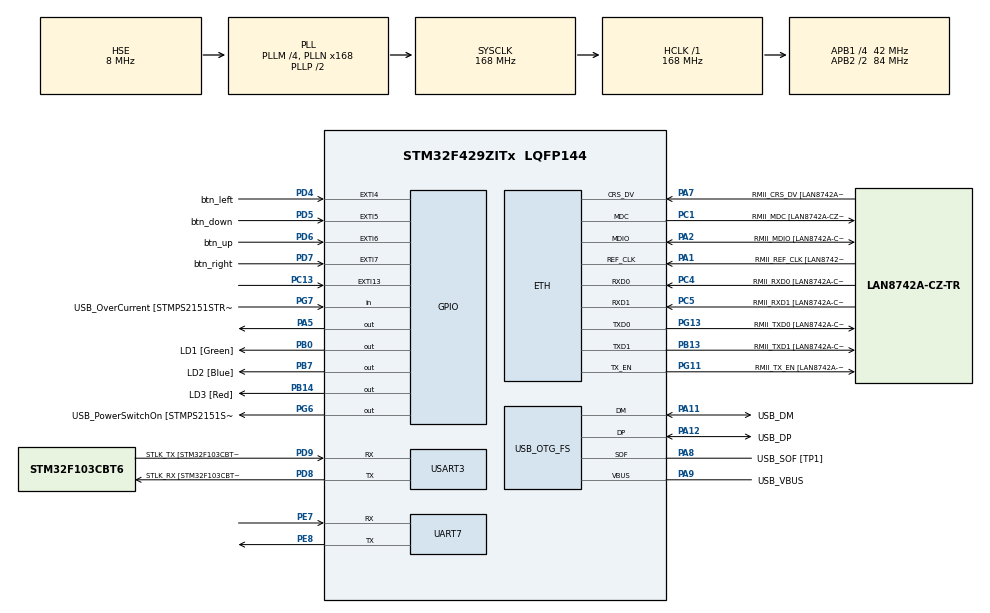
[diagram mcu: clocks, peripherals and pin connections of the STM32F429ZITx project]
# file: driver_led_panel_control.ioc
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Mcu.Family=STM32F4
FREERTOS.Queues01=inputs_queue_,16,10,1,Dynamic,NULL,NULL;outputs_queue_,16,5,1,Dynamic,NULL,NULL
RCC.CortexFreq_Value=168000000
PG6.Signal=GPIO_Output
PB14.GPIO_Label=LD3 [Red]
PG6.GPIO_Label=USB_PowerSwitchOn [STMPS2151STR_EN]
PA14.GPIO_Label=TCK
RCC.SYSCLKSourceVirtual=RCC_SYSCLKSOURCE_PLLCLK
PA11.Mode=Device_Only
PB0.GPIO_Label=LD1 [Green]
PC14/OSC32_IN.Mode=LSE-External-Oscillator
PC5.Mode=RMII
PB13.GPIO_Label=RMII_TXD1 [LAN8742A-CZ-TR_TXD1]
PB13.Signal=ETH_TXD1
PG13.Signal=ETH_TXD0
PD6.GPIO_Label=btn_up
PD9.Mode=Asynchronous
PG11.Signal=ETH_TX_EN
RCC.SYSCLKSource=RCC_SYSCLKSOURCE_PLLCLK
ProjectManager.StackSize=0x400
VP_FREERTOS_VS_CMSIS_V2.Mode=CMSIS_V2
PA12.Signal=USB_OTG_FS_DP
ETH.PHY_Value=0
PH0/OSC_IN.Mode=HSE-External-Clock-Source
RCC.HCLKFreq_Value=168000000
PD4.Signal=GPXTI4
RCC.APB2TimFreq_Value=168000000
PH1/OSC_OUT.Signal=RCC_OSC_OUT
PD8.Signal=USART3_TX
RCC.AHBFreq_Value=168000000
NVIC.EXTI15_10_IRQn=true\:5\:0\:false\:false\:true\:true\:true\:true
RCC.HSE_VALUE=8000000
RCC.PLLMUL=RCC_PLL_MUL9
PC4.GPIO_Label=RMII_RXD0 [LAN8742A-CZ-TR_RXD0]
PA14.Mode=Serial_Wire
VP_SYS_VS_tim1.Mode=TIM1
PA10.GPIO_Label=USB_ID
PB7.Signal=GPIO_Output
PA8.Signal=USB_OTG_FS_SOF
PG13.Mode=RMII
ETH.PHY_Name=LAN8742A_PHY_ADDRESS
PH1/OSC_OUT.Mode=HSE-External-Clock-Source
PD7.GPIO_Label=btn_right
PB7.GPIO_Label=LD2 [Blue]
Mcu.Package=LQFP144
NVIC.TimeBase=TIM1_UP_TIM10_IRQn
PC14/OSC32_IN.Signal=RCC_OSC32_IN
PD5.GPIO_Label=btn_down
PA2.GPIO_Label=RMII_MDIO [LAN8742A-CZ-TR_MDIO]
NVIC.TimeBaseIP=TIM1
PA10.Signal=USB_OTG_FS_ID
USB_OTG_FS.VirtualMode=Device_Only
RCC.APB2CLKDivider=RCC_HCLK_DIV2
RCC.APB1TimFreq_Value=84000000
PG11.GPIO_Label=RMII_TX_EN [LAN8742A-CZ-TR_TXEN]
PC5.Signal=ETH_RXD1
PB13.Mode=RMII
PE7.Signal=UART7_RX
PD6.Signal=GPXTI6
PC4.Mode=RMII
NVIC.EXTI4_IRQn=true\:5\:0\:false\:false\:true\:true\:true\:true
FREERTOS.Tasks01=trame_coding_,24,128,thread_trame_coding,Default,NULL,Dynamic,NULL,NULL;lighting_leds_,24,128,thread_illuminating_led_panel,Default,NULL,Dynamic,NULL,NULL;idle_animation_,24,128,thread_animations_when_idle,Default,NULL,Dynamic,NULL,NULL;IO_queue_,24,128,thread_IO_queue,Default,NULL,Dynamic,NULL,NULL;interruptions_,24,128,thread_dealing_with_interruptions_,Default,NULL,Dynamic,NULL,NULL
PA7.Mode=RMII
PG7.Signal=GPIO_Input
PD9.GPIO_Label=STLK_TX [STM32F103CBT6_PA2]
PC13.Signal=GPXTI13
PA9.GPIO_Label=USB_VBUS
PC4.Signal=ETH_RXD0
PD7.Signal=GPXTI7
PA11.GPIO_Label=USB_DM
PD9.Signal=USART3_RX
PD5.Signal=GPXTI5
UART7.VirtualMode=Asynchronous
RCC.APB1CLKDivider=RCC_HCLK_DIV4
PG13.GPIO_Label=RMII_TXD0 [LAN8742A-CZ-TR_TXD0]
ETH.PhyAddress=0
PA12.GPIO_Label=USB_DP
PD8.GPIO_Label=STLK_RX [STM32F103CBT6_PA3]
PE8.Mode=Asynchronous
PA13.Signal=SYS_JTMS-SWDIO
PA9.Mode=Activate_VBUS
PA8.GPIO_Label=USB_SOF [TP1]
ProjectManager.TargetToolchain=TrueSTUDIO
PA9.Signal=USB_OTG_FS_VBUS
RCC.USBFreq_Value=48000000
PD8.Mode=Asynchronous
PA1.Signal=ETH_REF_CLK
PB14.Signal=GPIO_Output
PA5.Signal=GPIO_Output
board=NUCLEO-F429ZI
RCC.VCOOutputFreq_Value=336000000
PH0/OSC_IN.Signal=RCC_OSC_IN
RCC.APB2Freq_Value=84000000
PA1.Mode=RMII
RCC.PRESCALERUSB=RCC_USBCLKSOURCE_PLL_DIV1_5
PE8.Signal=UART7_TX
PD4.GPIO_Label=btn_left
PG7.GPIO_Label=USB_OverCurrent [STMPS2151STR_FAULT]
PA1.GPIO_Label=RMII_REF_CLK [LAN8742A-CZ-TR_REFCLK0]
PC1.GPIO_Label=RMII_MDC [LAN8742A-CZ-TR_MDC]
PA13.Mode=Serial_Wire
Mcu.Name=STM32F429ZITx
PA2.Signal=ETH_MDIO
PA13.GPIO_Label=TMS
RCC.APB2TimCLKDivider=2
RCC.48MHZClocksFreq_Value=48000000
RCC.SYSCLKFreq_VALUE=168000000
PE7.Mode=Asynchronous
ETH.MediaInterface=ETH_MEDIA_INTERFACE_RMII
PA7.GPIO_Label=RMII_CRS_DV [LAN8742A-CZ-TR_CRS_DV]
PA12.Mode=Device_Only
PC5.GPIO_Label=RMII_RXD1 [LAN8742A-CZ-TR_RXD1]
USART3.VirtualMode=VM_ASYNC
PC15/OSC32_OUT.Mode=LSE-External-Oscillator
PG11.Mode=RMII
PA11.Signal=USB_OTG_FS_DM
NVIC.EXTI9_5_IRQn=true\:5\:0\:false\:false\:true\:true\:true\:true
PA14.Signal=SYS_JTCK-SWCLK
ProjectManager.HeapSize=0x200
NVIC.TIM1_UP_TIM10_IRQn=true\:0\:0\:false\:false\:true\:false\:false\:true
RCC.HSI_VALUE=16000000
PH0/OSC_IN.GPIO_Label=MCO [STM32F103CBT6_PA8]
RCC.PLLQ=7
NVIC.PriorityGroup=NVIC_PRIORITYGROUP_4
RCC.PLLM=4
RCC.PLLN=168
PA2.Mode=RMII
PC15/OSC32_OUT.Signal=RCC_OSC32_OUT
PA8.Mode=Activate_SOF_FS
RCC.APB1Freq_Value=42000000
PB0.Signal=GPIO_Output
PC1.Signal=ETH_MDC
PC1.Mode=RMII
PA7.Signal=ETH_CRS_DV

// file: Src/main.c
/* USER CODE BEGIN Header */
/**
 ******************************************************************************
 * @file           : main.c
 * @brief          : Main program body
 ******************************************************************************
 * @attention
 *
 * <h2><center>&copy; Copyright (c) 2020 STMicroelectronics.
 * All rights reserved.</center></h2>
 *
 * This software component is licensed by ST under Ultimate Liberty license
 * SLA0044, the "License"; You may not use this file except in compliance with
 * the License. You may obtain a copy of the License at:
 *                             www.st.com/SLA0044
 *
 ******************************************************************************
 */
/* USER CODE END Header */

#include "main.h"
#include "cmsis_os.h"
#include "task.h"

/* USER CODE BEGIN PTD */
typedef struct {
	uint8_t GValue;
	uint8_t RValue;
	uint8_t BValue;
} led;

typedef struct {
	int8_t l;
	int8_t c;
} point_t;
/* USER CODE END PTD */

/* USER CODE BEGIN PD */
#define ROWS 8
#define COLS 8
/* USER CODE END PD */

ETH_HandleTypeDef heth;

UART_HandleTypeDef huart7;
UART_HandleTypeDef huart3;

PCD_HandleTypeDef hpcd_USB_OTG_FS;

/* Definitions for trame_coding_ */
osThreadId_t trame_coding_Handle;
const osThreadAttr_t trame_coding__attributes = {
  .name = "trame_coding_",
  .priority = (osPriority_t) osPriorityNormal,
  .stack_size = 128 * 4
};
/* Definitions for lighting_leds_ */
osThreadId_t lighting_leds_Handle;
const osThreadAttr_t lighting_leds__attributes = {
  .name = "lighting_leds_",
  .priority = (osPriority_t) osPriorityNormal,
  .stack_size = 128 * 4
};
/* Definitions for idle_animation_ */
osThreadId_t idle_animation_Handle;
const osThreadAttr_t idle_animation__attributes = {
  .name = "idle_animation_",
  .priority = (osPriority_t) osPriorityNormal,
  .stack_size = 128 * 4
};
/* Definitions for IO_queue_ */
osThreadId_t IO_queue_Handle;
const osThreadAttr_t IO_queue__attributes = {
  .name = "IO_queue_",
  .priority = (osPriority_t) osPriorityNormal,
  .stack_size = 128 * 4
};
/* Definitions for interruptions_ */
osThreadId_t interruptions_Handle;
const osThreadAttr_t interruptions__attributes = {
  .name = "interruptions_",
  .priority = (osPriority_t) osPriorityNormal,
  .stack_size = 128 * 4
};
/* Definitions for inputs_queue_ */
osMessageQueueId_t inputs_queue_Handle;
const osMessageQueueAttr_t inputs_queue__attributes = {
  .name = "inputs_queue_"
};
/* Definitions for outputs_queue_ */
osMessageQueueId_t outputs_queue_Handle;
const osMessageQueueAttr_t outputs_queue__attributes = {
  .name = "outputs_queue_"
};
/* USER CODE BEGIN PV */
uint8_t btn_flag;
uint8_t send_trame;
int trame[64];
uint8_t it_flag_UP;
uint8_t it_flag_DOWN;
uint8_t it_flag_LEFT;
uint8_t it_flag_RIGHT;
char message[5] = "pxud\n";
led matrix_values[ROWS][COLS];
led led_color = {.RValue = 0, .GValue = 0, .BValue = 0};
led led_previous_color;
point_t led_coords;
int trame_ready;

/* USER CODE END PV */

void SystemClock_Config(void);
static void MX_GPIO_Init(void);
static void MX_ETH_Init(void);
static void MX_USART3_UART_Init(void);
static void MX_USB_OTG_FS_PCD_Init(void);
static void MX_UART7_Init(void);
void thread_trame_coding(void *argument);
void thread_illuminating_led_panel(void *argument);
void thread_animations_when_idle(void *argument);
void thread_IO_queue(void *argument);
void thread_dealing_with_interruptions_(void *argument);

int main(void)
{

  /* MCU Configuration--------------------------------------------------------*/

  /* Reset of all peripherals, Initializes the Flash interface and the Systick. */
  HAL_Init();

  /* USER CODE BEGIN Init */
  btn_flag = 0;
  send_trame = 0;
  it_flag_UP = 0;
  it_flag_DOWN = 0;
  it_flag_LEFT = 0;
  it_flag_RIGHT = 0;
  trame_ready = 0;
  int row, col;
  for(row = 0; row < ROWS; row++) {
	for(col = 0; col < COLS; col++) {
		matrix_values[row][col].BValue = 0;
		matrix_values[row][col].RValue = 0;
		matrix_values[row][col].GValue = 0;
	}
  }
  /* USER CODE END Init */

  /* Configure the system clock */
  SystemClock_Config();

  /* Initialize all configured peripherals */
  MX_GPIO_Init();
  MX_ETH_Init();
  MX_USART3_UART_Init();
  MX_USB_OTG_FS_PCD_Init();
  MX_UART7_Init();

  /* Init scheduler */
  osKernelInitialize();

  /* Create the queue(s) */
  /* creation of inputs_queue_ */
  inputs_queue_Handle = osMessageQueueNew (16, 10, &inputs_queue__attributes);

  /* creation of outputs_queue_ */
  outputs_queue_Handle = osMessageQueueNew (16, 5, &outputs_queue__attributes);

  /* Create the thread(s) */
  /* creation of trame_coding_ */
  trame_coding_Handle = osThreadNew(thread_trame_coding, NULL, &trame_coding__attributes);

  /* creation of lighting_leds_ */
  lighting_leds_Handle = osThreadNew(thread_illuminating_led_panel, NULL, &lighting_leds__attributes);

  /* creation of idle_animation_ */
  idle_animation_Handle = osThreadNew(thread_animations_when_idle, NULL, &idle_animation__attributes);

  /* creation of IO_queue_ */
  IO_queue_Handle = osThreadNew(thread_IO_queue, NULL, &IO_queue__attributes);

  /* creation of interruptions_ */
  interruptions_Handle = osThreadNew(thread_dealing_with_interruptions_, NULL, &interruptions__attributes);

  /* Start scheduler */
  osKernelStart();

  /* We should never get here as control is now taken by the scheduler */
  /* Infinite loop */
	while (1)
	{

	}
}

void SystemClock_Config(void)
{
  RCC_OscInitTypeDef RCC_OscInitStruct = {0};
  RCC_ClkInitTypeDef RCC_ClkInitStruct = {0};

  /** Configure the main internal regulator output voltage
  */
  __HAL_RCC_PWR_CLK_ENABLE();
  __HAL_PWR_VOLTAGESCALING_CONFIG(PWR_REGULATOR_VOLTAGE_SCALE1);
  /** Initializes the CPU, AHB and APB busses clocks
  */
  RCC_OscInitStruct.OscillatorType = RCC_OSCILLATORTYPE_HSE;
  RCC_OscInitStruct.HSEState = RCC_HSE_BYPASS;
  RCC_OscInitStruct.PLL.PLLState = RCC_PLL_ON;
  RCC_OscInitStruct.PLL.PLLSource = RCC_PLLSOURCE_HSE;
  RCC_OscInitStruct.PLL.PLLM = 4;
  RCC_OscInitStruct.PLL.PLLN = 168;
  RCC_OscInitStruct.PLL.PLLP = RCC_PLLP_DIV2;
  RCC_OscInitStruct.PLL.PLLQ = 7;
  if (HAL_RCC_OscConfig(&RCC_OscInitStruct) != HAL_OK)
  {
    Error_Handler();
  }
  /** Initializes the CPU, AHB and APB busses clocks
  */
  RCC_ClkInitStruct.ClockType = RCC_CLOCKTYPE_HCLK|RCC_CLOCKTYPE_SYSCLK
                              |RCC_CLOCKTYPE_PCLK1|RCC_CLOCKTYPE_PCLK2;
  RCC_ClkInitStruct.SYSCLKSource = RCC_SYSCLKSOURCE_PLLCLK;
  RCC_ClkInitStruct.AHBCLKDivider = RCC_SYSCLK_DIV1;
  RCC_ClkInitStruct.APB1CLKDivider = RCC_HCLK_DIV4;
  RCC_ClkInitStruct.APB2CLKDivider = RCC_HCLK_DIV2;

  if (HAL_RCC_ClockConfig(&RCC_ClkInitStruct, FLASH_LATENCY_5) != HAL_OK)
  {
    Error_Handler();
  }
}

static void MX_ETH_Init(void)
{

  heth.Instance = ETH;
  heth.Init.AutoNegotiation = ETH_AUTONEGOTIATION_ENABLE;
  heth.Init.PhyAddress = LAN8742A_PHY_ADDRESS;
  heth.Init.MACAddr[0] =   0x00;
  heth.Init.MACAddr[1] =   0x80;
  heth.Init.MACAddr[2] =   0xE1;
  heth.Init.MACAddr[3] =   0x00;
  heth.Init.MACAddr[4] =   0x00;
  heth.Init.MACAddr[5] =   0x00;
  heth.Init.RxMode = ETH_RXPOLLING_MODE;
  heth.Init.ChecksumMode = ETH_CHECKSUM_BY_HARDWARE;
  heth.Init.MediaInterface = ETH_MEDIA_INTERFACE_RMII;

  if (HAL_ETH_Init(&heth) != HAL_OK)
  {
    Error_Handler();
  }

}

static void MX_UART7_Init(void)
{

  huart7.Instance = UART7;
  huart7.Init.BaudRate = 115200;
  huart7.Init.WordLength = UART_WORDLENGTH_8B;
  huart7.Init.StopBits = UART_STOPBITS_1;
  huart7.Init.Parity = UART_PARITY_NONE;
  huart7.Init.Mode = UART_MODE_TX_RX;
  huart7.Init.HwFlowCtl = UART_HWCONTROL_NONE;
  huart7.Init.OverSampling = UART_OVERSAMPLING_16;
  if (HAL_UART_Init(&huart7) != HAL_OK)
  {
    Error_Handler();
  }

}

static void MX_USART3_UART_Init(void)
{

  huart3.Instance = USART3;
  huart3.Init.BaudRate = 115200;
  huart3.Init.WordLength = UART_WORDLENGTH_8B;
  huart3.Init.StopBits = UART_STOPBITS_1;
  huart3.Init.Parity = UART_PARITY_NONE;
  huart3.Init.Mode = UART_MODE_TX_RX;
  huart3.Init.HwFlowCtl = UART_HWCONTROL_NONE;
  huart3.Init.OverSampling = UART_OVERSAMPLING_16;
  if (HAL_UART_Init(&huart3) != HAL_OK)
  {
    Error_Handler();
  }

}

static void MX_USB_OTG_FS_PCD_Init(void)
{

  hpcd_USB_OTG_FS.Instance = USB_OTG_FS;
  hpcd_USB_OTG_FS.Init.dev_endpoints = 4;
  hpcd_USB_OTG_FS.Init.speed = PCD_SPEED_FULL;
  hpcd_USB_OTG_FS.Init.dma_enable = DISABLE;
  hpcd_USB_OTG_FS.Init.phy_itface = PCD_PHY_EMBEDDED;
  hpcd_USB_OTG_FS.Init.Sof_enable = ENABLE;
  hpcd_USB_OTG_FS.Init.low_power_enable = DISABLE;
  hpcd_USB_OTG_FS.Init.lpm_enable = DISABLE;
  hpcd_USB_OTG_FS.Init.vbus_sensing_enable = ENABLE;
  hpcd_USB_OTG_FS.Init.use_dedicated_ep1 = DISABLE;
  if (HAL_PCD_Init(&hpcd_USB_OTG_FS) != HAL_OK)
  {
    Error_Handler();
  }

}

static void MX_GPIO_Init(void)
{
  GPIO_InitTypeDef GPIO_InitStruct = {0};

  /* GPIO Ports Clock Enable */
  __HAL_RCC_GPIOC_CLK_ENABLE();
  __HAL_RCC_GPIOH_CLK_ENABLE();
  __HAL_RCC_GPIOA_CLK_ENABLE();
  __HAL_RCC_GPIOB_CLK_ENABLE();
  __HAL_RCC_GPIOE_CLK_ENABLE();
  __HAL_RCC_GPIOD_CLK_ENABLE();
  __HAL_RCC_GPIOG_CLK_ENABLE();

  /*Configure GPIO pin Output Level */
  HAL_GPIO_WritePin(GPIOA, GPIO_PIN_5, GPIO_PIN_RESET);

  /*Configure GPIO pin Output Level */
  HAL_GPIO_WritePin(GPIOB, LD1_Pin|LD3_Pin|LD2_Pin, GPIO_PIN_RESET);

  /*Configure GPIO pin Output Level */
  HAL_GPIO_WritePin(USB_PowerSwitchOn_GPIO_Port, USB_PowerSwitchOn_Pin, GPIO_PIN_RESET);

  /*Configure GPIO pin : PC13 */
  GPIO_InitStruct.Pin = GPIO_PIN_13;
  GPIO_InitStruct.Mode = GPIO_MODE_IT_RISING;
  GPIO_InitStruct.Pull = GPIO_NOPULL;
  HAL_GPIO_Init(GPIOC, &GPIO_InitStruct);

  /*Configure GPIO pin : PA5 */
  GPIO_InitStruct.Pin = GPIO_PIN_5;
  GPIO_InitStruct.Mode = GPIO_MODE_OUTPUT_PP;
  GPIO_InitStruct.Pull = GPIO_NOPULL;
  GPIO_InitStruct.Speed = GPIO_SPEED_FREQ_LOW;
  HAL_GPIO_Init(GPIOA, &GPIO_InitStruct);

  /*Configure GPIO pins : LD1_Pin LD3_Pin LD2_Pin */
  GPIO_InitStruct.Pin = LD1_Pin|LD3_Pin|LD2_Pin;
  GPIO_InitStruct.Mode = GPIO_MODE_OUTPUT_PP;
  GPIO_InitStruct.Pull = GPIO_NOPULL;
  GPIO_InitStruct.Speed = GPIO_SPEED_FREQ_LOW;
  HAL_GPIO_Init(GPIOB, &GPIO_InitStruct);

  /*Configure GPIO pin : USB_PowerSwitchOn_Pin */
  GPIO_InitStruct.Pin = USB_PowerSwitchOn_Pin;
  GPIO_InitStruct.Mode = GPIO_MODE_OUTPUT_PP;
  GPIO_InitStruct.Pull = GPIO_NOPULL;
  GPIO_InitStruct.Speed = GPIO_SPEED_FREQ_LOW;
  HAL_GPIO_Init(USB_PowerSwitchOn_GPIO_Port, &GPIO_InitStruct);

  /*Configure GPIO pin : USB_OverCurrent_Pin */
  GPIO_InitStruct.Pin = USB_OverCurrent_Pin;
  GPIO_InitStruct.Mode = GPIO_MODE_INPUT;
  GPIO_InitStruct.Pull = GPIO_NOPULL;
  HAL_GPIO_Init(USB_OverCurrent_GPIO_Port, &GPIO_InitStruct);

  /*Configure GPIO pins : btn_left_Pin btn_down_Pin btn_up_Pin btn_right_Pin */
  GPIO_InitStruct.Pin = btn_left_Pin|btn_down_Pin|btn_up_Pin|btn_right_Pin;
  GPIO_InitStruct.Mode = GPIO_MODE_IT_RISING;
  GPIO_InitStruct.Pull = GPIO_NOPULL;
  HAL_GPIO_Init(GPIOD, &GPIO_InitStruct);

  /* EXTI interrupt init*/
  HAL_NVIC_SetPriority(EXTI4_IRQn, 5, 0);
  HAL_NVIC_EnableIRQ(EXTI4_IRQn);

  HAL_NVIC_SetPriority(EXTI9_5_IRQn, 5, 0);
  HAL_NVIC_EnableIRQ(EXTI9_5_IRQn);

  HAL_NVIC_SetPriority(EXTI15_10_IRQn, 5, 0);
  HAL_NVIC_EnableIRQ(EXTI15_10_IRQn);

}

/* USER CODE BEGIN 4 */
void HAL_GPIO_EXTI_Callback(uint16_t GPIO_Pin){
	if (GPIO_Pin == GPIO_PIN_13){
		btn_flag = 1;
	}
	if (GPIO_Pin == btn_left_Pin){
		it_flag_LEFT = 1;
	}
	if (GPIO_Pin == btn_down_Pin){
		it_flag_DOWN = 1;
	}
	if (GPIO_Pin == btn_up_Pin){
		it_flag_UP = 1;
	}
	if (GPIO_Pin == btn_right_Pin){
		it_flag_RIGHT = 1;
	}
}

uint8_t ascii_to_uint8(char hexal_sixtenth, char hexal_units) {
	if (hexal_units < 58 && hexal_units > 47) {hexal_units -= 48;}
	else if (64 < hexal_units && hexal_units < 71 ) {hexal_units = hexal_units - 'A' + 10;}
	else if (96 < hexal_units && hexal_units < 103 ) {hexal_units = hexal_units - 'a' + 10;}

	if (hexal_sixtenth < 58 && hexal_sixtenth > 47) {hexal_sixtenth -= 48;}
	else if (64 < hexal_sixtenth && hexal_sixtenth < 71 ) {hexal_sixtenth = hexal_sixtenth - 'A' + 10;}
	else if (96 < hexal_sixtenth && hexal_sixtenth < 103 ) {hexal_sixtenth = hexal_sixtenth - 'a' + 10;}

	uint8_t code = hexal_sixtenth + (hexal_units << 4);
	return code;
}

led extract_GRB_from_RGB_ascii_of(char * buffer) {
	led GRB = {.GValue = ascii_to_uint8(buffer[5], buffer[6]),
			.RValue = ascii_to_uint8(buffer[3], buffer[4]),
			.BValue = ascii_to_uint8(buffer[7], buffer[8])};
	return GRB;
}

point_t extract_coords_from(char * buffer) {
	point_t coords = {.l = buffer[1]-48, .c = buffer[2]-48};
	return coords;
}

/* USER CODE END 4 */

void thread_trame_coding(void *argument)
{
  /* USER CODE BEGIN 5 */
	unsigned char buffer[10] = { 0 };
	uint8_t col, row;
	/* Infinite loop */
	for(;;)
	{
		if(osMessageQueueGet(inputs_queue_Handle, &buffer, 0, osWaitForever) == osOK) {
			led_coords = extract_coords_from(buffer);
			led_previous_color = led_color;
			led_color = extract_GRB_from_RGB_ascii_of(buffer);
			matrix_values[led_coords.l][led_coords.c] = led_color;
			for(row = 0; row < ROWS; row++) {
				for(col = 0; col < COLS; col++) {
					trame[((row*COLS)+col)] = (matrix_values[row][col].BValue << 16)
							+ (matrix_values[row][col].RValue << 8) + (matrix_values[row][col].GValue);
				}
			}
			trame_ready = 1;
			send_trame = 1;
		}
		osDelay(1);
	}
  /* USER CODE END 5 */
}

void thread_illuminating_led_panel(void *argument)
{
  /* USER CODE BEGIN thread_illuminating_led_panel */
	int bit, hex_mask, led;
  /* Infinite loop */
  for(;;)
  {
	if(send_trame == 1 && trame_ready == 1){
//		taskENTER_CRITICAL();
		vTaskSuspendAll();
		SysTick->CTRL &=~1;
		TIM1->CR1 &= (uint16_t)~TIM_CR1_CEN;
		for(led = 0; led < 64; led++) {
			hex_mask = 0x1000000;
			for(bit = 23; bit >= 0; bit--) {
				int TOH = 2, TOL = 8, TIH = 10, TIL = 4;
				if((trame[led] & hex_mask) == 0){
					HAL_GPIO_WritePin(GPIOA, GPIO_PIN_5, GPIO_PIN_SET);
					while(TOH --){}
					HAL_GPIO_WritePin(GPIOA, GPIO_PIN_5, GPIO_PIN_RESET);
					while(TOL --){}
				} else {
					HAL_GPIO_WritePin(GPIOA, GPIO_PIN_5, GPIO_PIN_SET);
					while(TIH --){}
					HAL_GPIO_WritePin(GPIOA, GPIO_PIN_5, GPIO_PIN_RESET);
					while(TIL --){}
				}
				hex_mask >>= 1;
			}
		} HAL_GPIO_WritePin(GPIOA, GPIO_PIN_5, GPIO_PIN_SET);
		HAL_GPIO_WritePin(GPIOA, GPIO_PIN_5, GPIO_PIN_RESET);
		SysTick->CTRL |= 1;
		TIM1->CR1 |= TIM_CR1_CEN;
		xTaskResumeAll();
//		taskEXIT_CRITICAL();
		osDelay(1);
		trame_ready = 0;
		send_trame = 0;
	}

	  osDelay(1);
  }
  /* USER CODE END thread_illuminating_led_panel */
}

void thread_animations_when_idle(void *argument)
{
  /* USER CODE BEGIN thread_animations_when_idle */
	uint8_t i, j;

	char led_test[] = {'R','7','7','F','F','F','F','F','F','\n'};
	//char test1[] = "R2200FFFF\n";
	//char test2[] = "R44FF00FF\n";
	//char test3[] = "R66FFFF00\n";

  /* Infinite loop */
  for(;;)
  {
	if(btn_flag == 1){

		osMessageQueuePut(inputs_queue_Handle, led_test, 0, osWaitForever);
		//osMessageQueuePut(inputs_queue_Handle, test1, 0, osWaitForever);
		//osMessageQueuePut(inputs_queue_Handle, test2, 0, osWaitForever);
		//osMessageQueuePut(inputs_queue_Handle, test3, 0, osWaitForever);
/*
		for(i = 0; i < 64; i ++){
			for(j = 0; j < 24; j++){
				trame[24*i+j] = 1;
			}
		}
*/
		btn_flag = 0;
		send_trame = 1;
		}
    osDelay(1);
  }
  /* USER CODE END thread_animations_when_idle */
}

void thread_IO_queue(void *argument)
{
  /* USER CODE BEGIN thread_IO_queue */
	unsigned char buffer[10] = { 0 };

  /* Infinite loop */
  for(;;)
  {
	if(osMessageQueueGet(outputs_queue_Handle, buffer, 0, 20) == osOK)
	{
		osDelay(10);
		HAL_UART_Transmit(&huart7,(uint8_t *) buffer, 5, 10);
	}
	osDelay(5);
	if(HAL_UART_Receive(&huart7,(uint8_t *) buffer, 10, 10) == HAL_OK)
	{
		osMessageQueuePut(inputs_queue_Handle, buffer, 0, osWaitForever);
	}
    osDelay(1);
  }
  /* USER CODE END thread_IO_queue */
}

void thread_dealing_with_interruptions_(void *argument)
{
  /* USER CODE BEGIN thread_dealing_with_interruptions_ */
  /* Infinite loop */
  for(;;)
  {
		if(it_flag_LEFT == 1){
			message[2]= 'l';
//			message[1]= '1';
			osDelay(5);
			osMessageQueuePut(outputs_queue_Handle, message, 0, osWaitForever);
//			message[1]= '2';
//			osMessageQueuePut(outputs_queue_Handle, message, 0, osWaitForever);
			osDelay(200);
			it_flag_LEFT = 0;
		}

		if(it_flag_DOWN == 1){
			message[2]= 'd';
//			message[1]= '1';
			osDelay(5);
			osMessageQueuePut(outputs_queue_Handle, message, 0, osWaitForever);
//			message[1]= '2';
//			osMessageQueuePut(outputs_queue_Handle, message, 0, osWaitForever);
			osDelay(200);
			it_flag_DOWN = 0;
		}
		if(it_flag_UP == 1){
			message[2]= 'u';
//			message[1]= '1';
			osMessageQueuePut(outputs_queue_Handle, message, 0, osWaitForever);
//			message[1]= '2';
//			osMessageQueuePut(outputs_queue_Handle, message, 0, osWaitForever);
			osDelay(200);
			it_flag_UP = 0;
		}
		if(it_flag_RIGHT == 1){
			message[2]= 'r';
//			message[1]= '1';
			osDelay(5);
			osMessageQueuePut(outputs_queue_Handle, message, 0, osWaitForever);
//			message[1]= '2';
//			osMessageQueuePut(outputs_queue_Handle, message, 0, osWaitForever);
			osDelay(200);
			it_flag_RIGHT = 0;
		}
    osDelay(1);
  }
  /* USER CODE END thread_dealing_with_interruptions_ */
}

 /**
  * @brief  Period elapsed callback in non blocking mode
  * @note   This function is called  when TIM1 interrupt took place, inside
  * HAL_TIM_IRQHandler(). It makes a direct call to HAL_IncTick() to increment
  * a global variable "uwTick" used as application time base.
  * @param  htim : TIM handle
  * @retval None
  */
void HAL_TIM_PeriodElapsedCallback(TIM_HandleTypeDef *htim)
{
  if (htim->Instance == TIM1) {
    HAL_IncTick();
  }
}

void Error_Handler(void)
{
}

/************************ (C) COPYRIGHT STMicroelectronics *****END OF FILE****/
